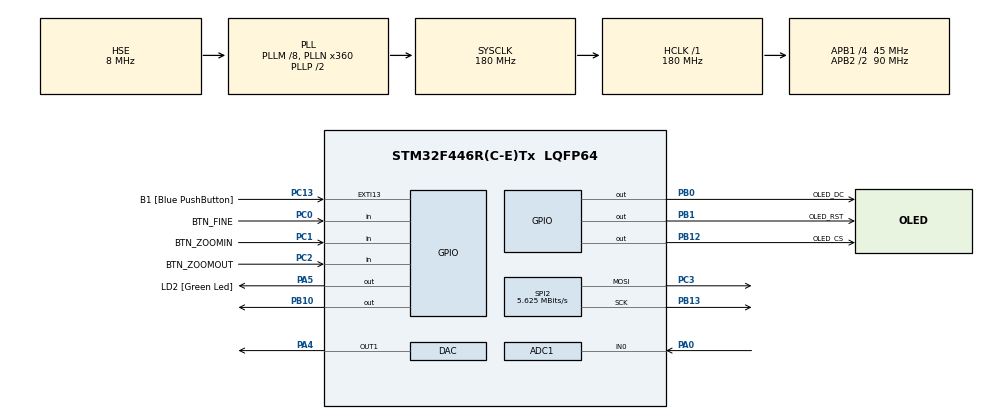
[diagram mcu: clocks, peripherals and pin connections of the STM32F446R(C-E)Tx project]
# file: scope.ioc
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ADC1.Channel-0\#ChannelRegularConversion=ADC_CHANNEL_0
ADC1.ContinuousConvMode=DISABLE
ADC1.DMAContinuousRequests=ENABLE
ADC1.ExternalTrigConv=ADC_EXTERNALTRIGCONV_T3_TRGO
ADC1.NbrOfConversion=1
ADC1.NbrOfConversionFlag=1
ADC1.Rank-0\#ChannelRegularConversion=1
ADC1.SamplingTime-0\#ChannelRegularConversion=ADC_SAMPLETIME_56CYCLES
ADC1.master=1
DAC.DAC_Trigger=DAC_TRIGGER_T6_TRGO
Dma.ADC1.1.Direction=DMA_PERIPH_TO_MEMORY
Dma.ADC1.1.FIFOMode=DMA_FIFOMODE_DISABLE
Dma.ADC1.1.Instance=DMA2_Stream0
Dma.ADC1.1.MemDataAlignment=DMA_MDATAALIGN_HALFWORD
Dma.ADC1.1.MemInc=DMA_MINC_ENABLE
Dma.ADC1.1.Mode=DMA_CIRCULAR
Dma.ADC1.1.PeriphDataAlignment=DMA_PDATAALIGN_HALFWORD
Dma.ADC1.1.PeriphInc=DMA_PINC_DISABLE
Dma.ADC1.1.Priority=DMA_PRIORITY_HIGH
Dma.DAC1.0.Direction=DMA_MEMORY_TO_PERIPH
Dma.DAC1.0.FIFOMode=DMA_FIFOMODE_DISABLE
Dma.DAC1.0.Instance=DMA1_Stream5
Dma.DAC1.0.MemDataAlignment=DMA_MDATAALIGN_HALFWORD
Dma.DAC1.0.MemInc=DMA_MINC_ENABLE
Dma.DAC1.0.Mode=DMA_CIRCULAR
Dma.DAC1.0.PeriphDataAlignment=DMA_PDATAALIGN_HALFWORD
Dma.DAC1.0.PeriphInc=DMA_PINC_DISABLE
Dma.DAC1.0.Priority=DMA_PRIORITY_MEDIUM
Dma.Request0=DAC1
Dma.Request1=ADC1
Mcu.Family=STM32F4
Mcu.Name=STM32F446R(C-E)Tx
Mcu.Package=LQFP64
NVIC.ADC_IRQn=true\:0\:0\:false\:false\:true\:true\:true\:true
NVIC.DMA1_Stream5_IRQn=true\:0\:0\:false\:false\:true\:false\:true\:true
NVIC.DMA2_Stream0_IRQn=true\:0\:0\:false\:false\:true\:false\:true\:true
NVIC.PriorityGroup=NVIC_PRIORITYGROUP_0
PA0-WKUP.Signal=ADCx_IN0
PA13.GPIO_Label=TMS
PA13.Signal=SYS_JTMS-SWDIO
PA14.GPIO_Label=TCK
PA14.Signal=SYS_JTCK-SWCLK
PA2.GPIO_Label=USART_TX
PA2.Signal=USART2_TX
PA3.GPIO_Label=USART_RX
PA3.Signal=USART2_RX
PA4.Signal=COMP_DAC1_group
PA5.GPIO_Label=LD2 [Green Led]
PA5.Signal=GPIO_Output
PB0.GPIO_Label=OLED_DC
PB0.Signal=GPIO_Output
PB1.GPIO_Label=OLED_RST
PB1.Signal=GPIO_Output
PB10.Signal=GPIO_Output
PB12.GPIO_Label=OLED_CS
PB12.Signal=GPIO_Output
PB13.Mode=TX_Only_Simplex_Unidirect_Master
PB13.Signal=SPI2_SCK
PB3.GPIO_Label=SWO
PB3.Signal=SYS_JTDO-SWO
PC0.GPIO_Label=BTN_FINE
PC0.GPIO_PuPd=GPIO_PULLUP
PC0.Signal=GPIO_Input
PC1.GPIO_Label=BTN_ZOOMIN
PC1.GPIO_PuPd=GPIO_PULLUP
PC1.Signal=GPIO_Input
PC13.GPIO_Label=B1 [Blue PushButton]
PC13.GPIO_ModeDefaultEXTI=GPIO_MODE_IT_FALLING
PC13.Signal=GPXTI13
PC14-OSC32_IN.Signal=RCC_OSC32_IN
PC15-OSC32_OUT.Signal=RCC_OSC32_OUT
PC2.GPIO_Label=BTN_ZOOMOUT
PC2.GPIO_PuPd=GPIO_PULLUP
PC2.Signal=GPIO_Input
PC3.Mode=TX_Only_Simplex_Unidirect_Master
PC3.Signal=SPI2_MOSI
PH0-OSC_IN.Mode=HSE-External-Oscillator
PH0-OSC_IN.Signal=RCC_OSC_IN
PH1-OSC_OUT.Mode=HSE-External-Oscillator
PH1-OSC_OUT.Signal=RCC_OSC_OUT
ProjectManager.HeapSize=0x400
ProjectManager.StackSize=0x800
ProjectManager.TargetToolchain=STM32CubeIDE
RCC.AHBFreq_Value=180000000
RCC.APB1CLKDivider=RCC_HCLK_DIV4
RCC.APB1Freq_Value=45000000
RCC.APB1TimFreq_Value=90000000
RCC.APB2CLKDivider=RCC_HCLK_DIV2
RCC.APB2Freq_Value=90000000
RCC.APB2TimFreq_Value=180000000
RCC.CortexFreq_Value=180000000
RCC.FLatency-AdvancedSettings=FLASH_LATENCY_5
RCC.HCLKFreq_Value=180000000
RCC.HSE_VALUE=8000000
RCC.HSI_VALUE=16000000
RCC.LSE_VALUE=32768
RCC.PLLM=8
RCC.PLLN=360
RCC.PLLSourceVirtual=RCC_PLLSOURCE_HSE
RCC.SYSCLKFreq_VALUE=180000000
RCC.SYSCLKSource=RCC_SYSCLKSOURCE_PLLCLK
RCC.USBFreq_Value=180000000
RCC.VCOOutputFreq_Value=360000000
SH.ADCx_IN0.0=ADC1_IN0,IN0
SH.COMP_DAC1_group.0=DAC_OUT1,DAC_OUT1
SPI2.BaudRatePrescaler=SPI_BAUDRATEPRESCALER_8
SPI2.CalculateBaudRate=5.625 MBits/s
SPI2.Direction=SPI_DIRECTION_2LINES
SPI2.Mode=SPI_MODE_MASTER
SPI2.VirtualType=VM_MASTER
TIM3.Period=4499
TIM3.TIM_MasterOutputTrigger=TIM_TRGO_UPDATE
TIM6.Period=17999
TIM6.TIM_MasterOutputTrigger=TIM_TRGO_UPDATE
VP_TIM3_VS_ClockSourceINT.Mode=Internal
VP_TIM6_VS_ClockSourceINT.Mode=Enable_Timer
board=NUCLEO-F446RE

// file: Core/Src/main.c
/* USER CODE BEGIN Header */
/**
  ******************************************************************************
  * @file           : main.c
  * @brief          : Main program body
  ******************************************************************************
  * @attention
  *
  * Copyright (c) 2026 STMicroelectronics.
  * All rights reserved.
  *
  * This software is licensed under terms that can be found in the LICENSE file
  * in the root directory of this software component.
  * If no LICENSE file comes with this software, it is provided AS-IS.
  *
  ******************************************************************************
  */
/* USER CODE END Header */
#include "main.h"
#include "adc.h"
#include "dac.h"
#include "dma.h"
#include "spi.h"
#include "tim.h"
#include "gpio.h"

/* USER CODE BEGIN Includes */
#include "osc_buffer.h"
#include "osc_display.h"
#include "ssd1306.h"
/* USER CODE END Includes */

/* USER CODE BEGIN PV */
float g_window_sec = 0.10f;

#define DAC_LUT_SIZE 100
static const uint16_t dac_lut[DAC_LUT_SIZE] = {
    2048, 2174, 2299, 2422, 2542, 2658, 2769, 2873, 2970, 3059,
    3138, 3209, 3270, 3320, 3359, 3387, 3404, 3409, 3402, 3385,
    3356, 3316, 3266, 3207, 3138, 3062, 2978, 2888, 2793, 2693,
    2590, 2486, 2380, 2274, 2169, 2065, 1963, 1865, 1770, 1680,
    1596, 1518, 1447, 1384, 1330, 1284, 1248, 1221, 1205, 1199,
    1204, 1219, 1245, 1281, 1327, 1383, 1448, 1521, 1602, 1690,
    1784, 1883, 1985, 2091, 2198, 2306, 2414, 2520, 2624, 2724,
    2819, 2908, 2991, 3067, 3134, 3193, 3242, 3282, 3312, 3331,
    3340, 3339, 3327, 3305, 3273, 3231, 3180, 3120, 3052, 2976,
    2894, 2807, 2714, 2618, 2519, 2418, 2317, 2216, 2117, 2020
};
/* USER CODE END PV */

void SystemClock_Config(void);

int main(void)
{

  /* MCU Configuration--------------------------------------------------------*/

  /* Reset of all peripherals, Initializes the Flash interface and the Systick. */
  HAL_Init();

  /* Configure the system clock */
  SystemClock_Config();

  /* Initialize all configured peripherals */
  MX_GPIO_Init();
  MX_DMA_Init();
  MX_DAC_Init();
  MX_TIM3_Init();
  MX_TIM6_Init();
  MX_ADC1_Init();
  MX_SPI2_Init();
  /* USER CODE BEGIN 2 */
  osc_buffer_init();
  ssd1306_init();

  HAL_TIM_Base_Start(&htim6);
  HAL_TIM_Base_Start(&htim3);
  HAL_DAC_Start_DMA(&hdac, DAC_CHANNEL_1,
                    (uint32_t*)dac_lut, DAC_LUT_SIZE, DAC_ALIGN_12B_R);
  HAL_ADC_Start_DMA(&hadc1, (uint32_t*)adc_dma_buf, ADC_DMA_SIZE);

  HAL_Delay(100);
  /* USER CODE END 2 */

  /* Infinite loop */
  /* USER CODE BEGIN WHILE */
  while (1) {
      uint8_t fine = (HAL_GPIO_ReadPin(BTN_FINE_GPIO_Port,    BTN_FINE_Pin)    == GPIO_PIN_RESET);
      uint8_t zi   = (HAL_GPIO_ReadPin(BTN_ZOOMIN_GPIO_Port,  BTN_ZOOMIN_Pin)  == GPIO_PIN_RESET);
      uint8_t zo   = (HAL_GPIO_ReadPin(BTN_ZOOMOUT_GPIO_Port, BTN_ZOOMOUT_Pin) == GPIO_PIN_RESET);

      float step = fine ? 0.01f : 0.10f;

      if (zi) g_window_sec -= step;
      if (zo) g_window_sec += step;

      if (g_window_sec < 0.02f) g_window_sec = 0.02f;
      if (g_window_sec > 1.00f) g_window_sec = 1.00f;

      osc_display_frame(g_window_sec);

      HAL_Delay(50);
  }
  /* USER CODE END 3 */
}

void SystemClock_Config(void)
{
  RCC_OscInitTypeDef RCC_OscInitStruct = {0};
  RCC_ClkInitTypeDef RCC_ClkInitStruct = {0};

  /** Configure the main internal regulator output voltage
  */
  __HAL_RCC_PWR_CLK_ENABLE();
  __HAL_PWR_VOLTAGESCALING_CONFIG(PWR_REGULATOR_VOLTAGE_SCALE1);

  /** Initializes the RCC Oscillators according to the specified parameters
  * in the RCC_OscInitTypeDef structure.
  */
  RCC_OscInitStruct.OscillatorType = RCC_OSCILLATORTYPE_HSE;
  RCC_OscInitStruct.HSEState = RCC_HSE_ON;
  RCC_OscInitStruct.PLL.PLLState = RCC_PLL_ON;
  RCC_OscInitStruct.PLL.PLLSource = RCC_PLLSOURCE_HSE;
  RCC_OscInitStruct.PLL.PLLM = 8;
  RCC_OscInitStruct.PLL.PLLN = 360;
  RCC_OscInitStruct.PLL.PLLP = RCC_PLLP_DIV2;
  RCC_OscInitStruct.PLL.PLLQ = 2;
  RCC_OscInitStruct.PLL.PLLR = 2;
  if (HAL_RCC_OscConfig(&RCC_OscInitStruct) != HAL_OK)
  {
    Error_Handler();
  }

  /** Activate the Over-Drive mode
  */
  if (HAL_PWREx_EnableOverDrive() != HAL_OK)
  {
    Error_Handler();
  }

  /** Initializes the CPU, AHB and APB buses clocks
  */
  RCC_ClkInitStruct.ClockType = RCC_CLOCKTYPE_HCLK|RCC_CLOCKTYPE_SYSCLK
                              |RCC_CLOCKTYPE_PCLK1|RCC_CLOCKTYPE_PCLK2;
  RCC_ClkInitStruct.SYSCLKSource = RCC_SYSCLKSOURCE_PLLCLK;
  RCC_ClkInitStruct.AHBCLKDivider = RCC_SYSCLK_DIV1;
  RCC_ClkInitStruct.APB1CLKDivider = RCC_HCLK_DIV4;
  RCC_ClkInitStruct.APB2CLKDivider = RCC_HCLK_DIV2;

  if (HAL_RCC_ClockConfig(&RCC_ClkInitStruct, FLASH_LATENCY_5) != HAL_OK)
  {
    Error_Handler();
  }
}

/* USER CODE BEGIN 4 */
void HAL_ADC_ConvHalfCpltCallback(ADC_HandleTypeDef *hadc) {
    if (hadc->Instance == ADC1) {
        osc_buffer_push(adc_dma_buf, ADC_DMA_SIZE / 2);
    }
}

void HAL_ADC_ConvCpltCallback(ADC_HandleTypeDef *hadc) {
    if (hadc->Instance == ADC1) {
        osc_buffer_push(adc_dma_buf + ADC_DMA_SIZE / 2, ADC_DMA_SIZE / 2);
    }
}
/* USER CODE END 4 */

void Error_Handler(void)
{
  __disable_irq();
  while (1)
  {
  }
}
